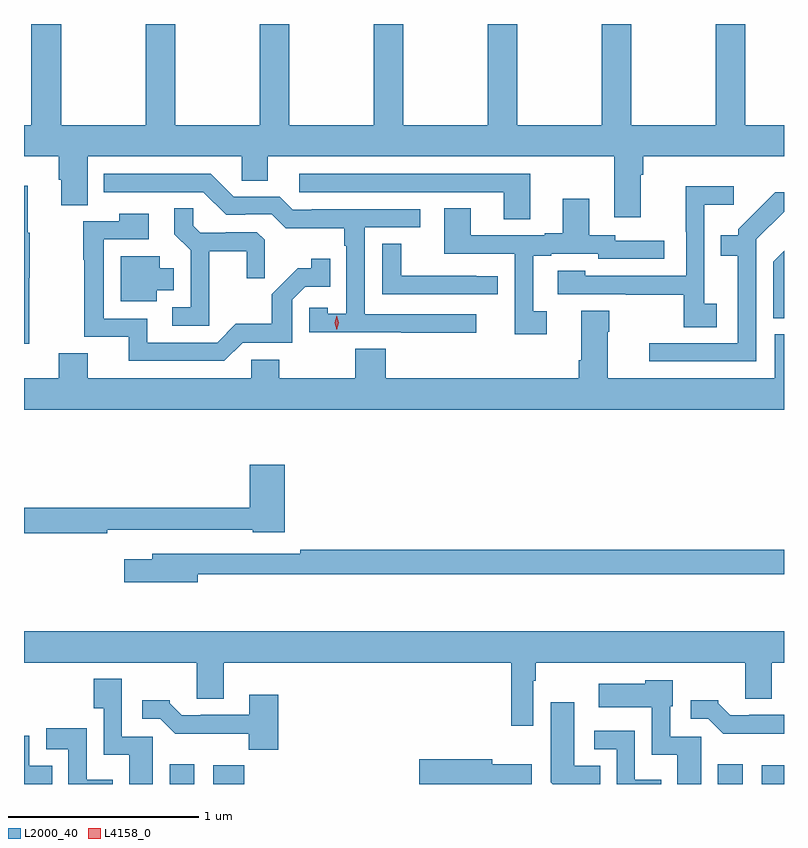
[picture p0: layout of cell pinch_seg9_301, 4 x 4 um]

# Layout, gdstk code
import gdstk
lib = gdstk.Library(unit=1e-6, precision=1e-09)
def R(c, l, rs):  # rectangles x0, y0, x1, y1
    for r in rs: c.add(gdstk.rectangle(r[:2], r[2:], *l))
def P(c, l, *ps):  # polygons
    for p in ps: c.add(gdstk.Polygon(p, *l))
L2000_40 = (2000, 40)
L4158_0 = (4158, 0)

pinch_seg9_301 = lib.new_cell('pinch_seg9_301')
R(pinch_seg9_301, L2000_40, [(478.151,1190.453,478.282,1190.557), (478.382,1190.453,478.544,1190.551), (481.037,1190.453,481.168,1190.557), (481.268,1190.453,481.385,1190.551)])
P(pinch_seg9_301, L2000_40, [(480.631,1193.66),(480.644,1193.66),(480.644,1193.756),(481.385,1193.756),(481.385,1193.92),(481.182,1193.92),(481.182,1194.453),(481.027,1194.453),(481.027,1193.92),(480.582,1193.92),(480.582,1194.453),(480.427,1194.453),(480.427,1193.92),(479.982,1193.92),(479.982,1194.453),(479.827,1194.453),(479.827,1193.92),(479.382,1193.92),(479.382,1194.453),(479.227,1194.453),(479.227,1193.92),(478.782,1193.92),(478.782,1194.453),(478.627,1194.453),(478.627,1193.92),(478.182,1193.92),(478.182,1194.453),(478.027,1194.453),(478.027,1193.92),(477.582,1193.92),(477.582,1194.453),(477.422,1194.453),(477.422,1193.92),(477.385,1193.92),(477.385,1193.756),(477.569,1193.756),(477.569,1193.634),(477.581,1193.634),(477.581,1193.5),(477.721,1193.5),(477.721,1193.756),(478.53,1193.756),(478.53,1193.629),(478.669,1193.629),(478.669,1193.756),(480.491,1193.756),(480.491,1193.436),(480.631,1193.436)],
  [(480.049,1193.664),(478.833,1193.664),(478.833,1193.568),(479.909,1193.568),(479.909,1193.425),(480.049,1193.425)],
  [(479.764,1192.926),(479.178,1192.926),(479.178,1193.382),(479.47,1193.382),(479.47,1193.478),(478.9,1193.478),(478.9,1193.475),(478.8,1193.475),(478.731,1193.544),(478.488,1193.544),(478.368,1193.664),(477.806,1193.664),(477.806,1193.568),(478.329,1193.568),(478.449,1193.448),(478.55,1193.448),(478.55,1193.451),(478.689,1193.451),(478.762,1193.378),(479.07,1193.378),(479.07,1193.285),(479.082,1193.285),(479.082,1192.927),(478.983,1192.927),(478.983,1192.959),(478.887,1192.959),(478.887,1192.83),(479.371,1192.83),(479.371,1192.828),(479.764,1192.828)],
  [(477.412,1193.118),(477.414,1193.118),(477.414,1193.354),(477.406,1193.354),(477.406,1193.602),(477.385,1193.602),(477.385,1192.77),(477.412,1192.77)],
  [(481.03,1192.98),(480.966,1192.98),(480.966,1193.501),(481.12,1193.501),(481.12,1193.599),(480.868,1193.599),(480.868,1193.36),(480.87,1193.36),(480.87,1193.127),(480.339,1193.127),(480.339,1193.155),(480.195,1193.155),(480.195,1193.031),(480.553,1193.031),(480.553,1193.029),(480.858,1193.029),(480.858,1192.858),(481.03,1192.858)],
  [(481.239,1193.319),(481.385,1193.465),(481.385,1193.568),(481.338,1193.568),(481.143,1193.373),(481.143,1193.341),(481.051,1193.341),(481.051,1193.232),(481.142,1193.232),(481.142,1192.773),(480.675,1192.773),(480.675,1192.677),(481.239,1192.677)],
  [(480.136,1192.941),(480.064,1192.941),(480.064,1193.232),(480.16,1193.232),(480.16,1193.244),(480.408,1193.244),(480.408,1193.217),(480.754,1193.217),(480.754,1193.313),(480.498,1193.313),(480.498,1193.34),(480.361,1193.34),(480.361,1193.533),(480.221,1193.533),(480.221,1193.353),(480.125,1193.353),(480.125,1193.34),(479.737,1193.34),(479.737,1193.483),(479.597,1193.483),(479.597,1193.244),(479.967,1193.244),(479.967,1192.821),(480.136,1192.821)],
  [(478.361,1193.258),(478.558,1193.258),(478.558,1193.115),(478.652,1193.115),(478.652,1193.317),(478.611,1193.358),(478.446,1193.358),(478.446,1193.355),(478.312,1193.355),(478.275,1193.392),(478.275,1193.483),(478.177,1193.483),(478.177,1193.347),(478.263,1193.261),(478.263,1192.962),(478.164,1192.962),(478.164,1192.866),(478.361,1192.866)],
  [(478.536,1192.776),(478.797,1192.776),(478.797,1193.001),(478.866,1193.07),(478.997,1193.07),(478.997,1193.218),(478.896,1193.218),(478.896,1193.168),(478.826,1193.168),(478.689,1193.03),(478.689,1192.875),(478.5,1192.875),(478.401,1192.776),(478.033,1192.776),(478.033,1192.902),(477.804,1192.902),(477.804,1193.319),(478.042,1193.319),(478.042,1193.455),(477.886,1193.455),(477.886,1193.415),(477.696,1193.415),(477.696,1193.212),(477.703,1193.212),(477.703,1192.806),(477.935,1192.806),(477.935,1192.68),(478.44,1192.68)],
  [(479.878,1193.126),(479.765,1193.126),(479.765,1193.127),(479.37,1193.127),(479.37,1193.297),(479.271,1193.297),(479.271,1193.031),(479.878,1193.031)],
  [(481.385,1193.259),(481.329,1193.203),(481.329,1192.905),(481.385,1192.905)],
  [(478.084,1193.051),(478.174,1193.051),(478.174,1193.167),(478.099,1193.167),(478.099,1193.23),(477.893,1193.23),(477.893,1192.994),(478.084,1192.994)],
  [(481.385,1192.82),(481.337,1192.82),(481.337,1192.588),(480.457,1192.588),(480.457,1192.832),(480.465,1192.832),(480.465,1192.945),(480.317,1192.945),(480.317,1192.684),(480.305,1192.684),(480.305,1192.588),(479.288,1192.588),(479.288,1192.745),(479.128,1192.745),(479.128,1192.588),(478.728,1192.588),(478.728,1192.686),(478.581,1192.686),(478.581,1192.588),(477.721,1192.588),(477.721,1192.721),(477.569,1192.721),(477.569,1192.588),(477.385,1192.588),(477.385,1192.424),(481.385,1192.424)],
  [(477.824,1191.792),(478.59,1191.792),(478.59,1191.779),(478.757,1191.779),(478.757,1192.132),(478.574,1192.132),(478.574,1191.908),(477.385,1191.908),(477.385,1191.772),(477.824,1191.772)],
  [(478.3,1191.558),(481.385,1191.558),(481.385,1191.686),(478.84,1191.686),(478.84,1191.666),(478.061,1191.666),(478.061,1191.637),(477.912,1191.637),(477.912,1191.515),(478.3,1191.515)],
  [(480.066,1190.996),(480.079,1190.996),(480.079,1191.092),(481.181,1191.092),(481.181,1190.902),(481.321,1190.902),(481.321,1191.092),(481.385,1191.092),(481.385,1191.256),(477.385,1191.256),(477.385,1191.092),(478.295,1191.092),(478.295,1190.902),(478.435,1190.902),(478.435,1191.092),(479.95,1191.092),(479.95,1190.76),(480.066,1190.76)],
  [(478.063,1190.703),(477.9,1190.703),(477.9,1191.007),(477.752,1191.007),(477.752,1190.851),(477.804,1190.851),(477.804,1190.606),(477.938,1190.606),(477.938,1190.453),(478.063,1190.453)],
  [(480.949,1190.703),(480.786,1190.703),(480.786,1190.862),(480.799,1190.862),(480.799,1190.998),(480.654,1190.998),(480.654,1190.98),(480.411,1190.98),(480.411,1190.858),(480.69,1190.858),(480.69,1190.606),(480.824,1190.606),(480.824,1190.453),(480.949,1190.453)],
  [(478.724,1190.923),(478.571,1190.923),(478.571,1190.817),(478.315,1190.817),(478.315,1190.814),(478.216,1190.814),(478.152,1190.878),(478.152,1190.893),(478.008,1190.893),(478.008,1190.796),(478.101,1190.796),(478.18,1190.718),(478.569,1190.718),(478.569,1190.633),(478.724,1190.633)],
  [(481.385,1190.817),(481.201,1190.817),(481.201,1190.814),(481.102,1190.814),(481.038,1190.878),(481.038,1190.893),(480.894,1190.893),(480.894,1190.796),(480.987,1190.796),(481.066,1190.718),(481.385,1190.718)],
  [(480.419,1190.548),(480.28,1190.548),(480.28,1190.884),(480.158,1190.884),(480.158,1190.462),(480.167,1190.453),(480.419,1190.453)],
  [(477.853,1190.476),(477.714,1190.476),(477.714,1190.746),(477.501,1190.746),(477.501,1190.637),(477.618,1190.637),(477.618,1190.453),(477.853,1190.453)],
  [(480.739,1190.476),(480.6,1190.476),(480.6,1190.733),(480.387,1190.733),(480.387,1190.637),(480.504,1190.637),(480.504,1190.453),(480.739,1190.453)],
  [(477.533,1190.548),(477.412,1190.548),(477.412,1190.706),(477.385,1190.706),(477.385,1190.453),(477.533,1190.453)],
  [(480.058,1190.557),(479.85,1190.557),(479.85,1190.582),(479.466,1190.582),(479.466,1190.453),(480.058,1190.453)])
P(pinch_seg9_301, L4158_0, [(479.031,1192.845),(479.021,1192.881),(479.03,1192.917),(479.03,1192.917),(479.03,1192.917),(479.041,1192.881),(479.032,1192.845),(479.032,1192.845)])

lib.write_gds('pinch_seg9_301.gds')
